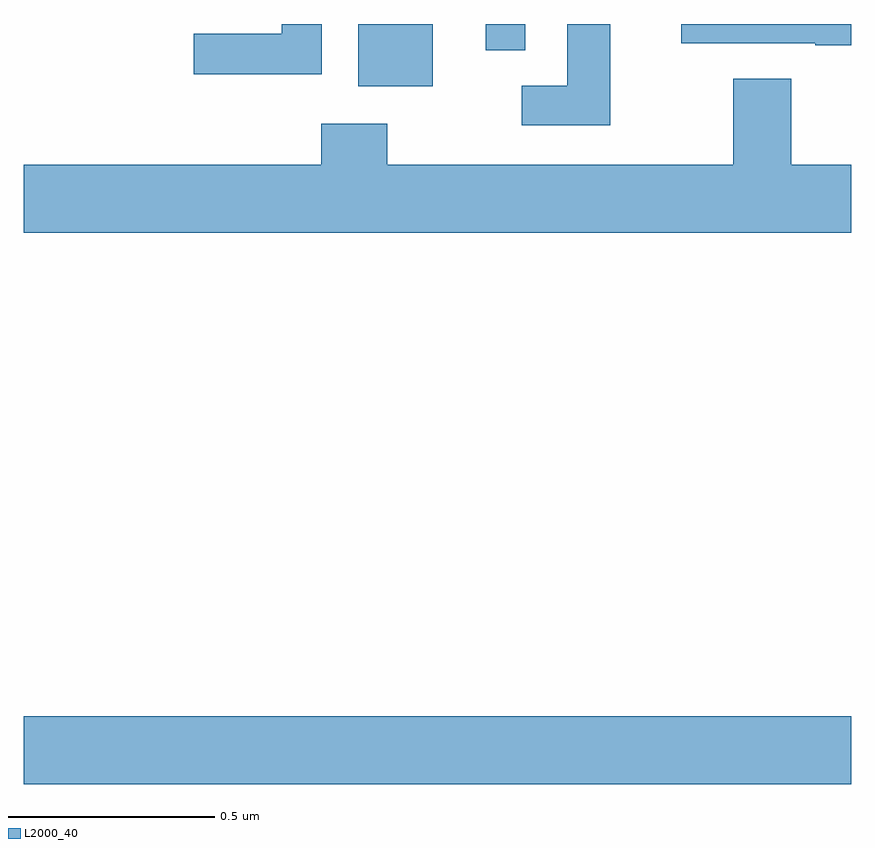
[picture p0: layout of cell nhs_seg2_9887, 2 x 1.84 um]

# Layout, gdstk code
import gdstk
lib = gdstk.Library(unit=1e-6, precision=1e-09)
def R(c, l, rs):  # rectangles x0, y0, x1, y1
    for r in rs: c.add(gdstk.rectangle(r[:2], r[2:], *l))
def P(c, l, *ps):  # polygons
    for p in ps: c.add(gdstk.Polygon(p, *l))
L2000_40 = (2000, 40)

nhs_seg2_9887 = lib.new_cell('nhs_seg2_9887')
R(nhs_seg2_9887, L2000_40, [(234,652.964,236,653.128), (234.809,654.65,234.988,654.8), (235.116,654.736,235.212,654.8)])
P(nhs_seg2_9887, L2000_40, [(234.72,654.8),(234.624,654.8),(234.624,654.777),(234.411,654.777),(234.411,654.679),(234.72,654.679)],
  [(236,654.8),(235.589,654.8),(235.589,654.753),(235.913,654.753),(235.913,654.749),(236,654.749)],
  [(235.417,654.8),(235.313,654.8),(235.313,654.651),(235.203,654.651),(235.203,654.555),(235.417,654.555)],
  [(236,654.46),(235.855,654.46),(235.855,654.668),(235.715,654.668),(235.715,654.46),(234.879,654.46),(234.879,654.559),(234.719,654.559),(234.719,654.46),(234,654.46),(234,654.296),(236,654.296)])

lib.write_gds('nhs_seg2_9887.gds')
